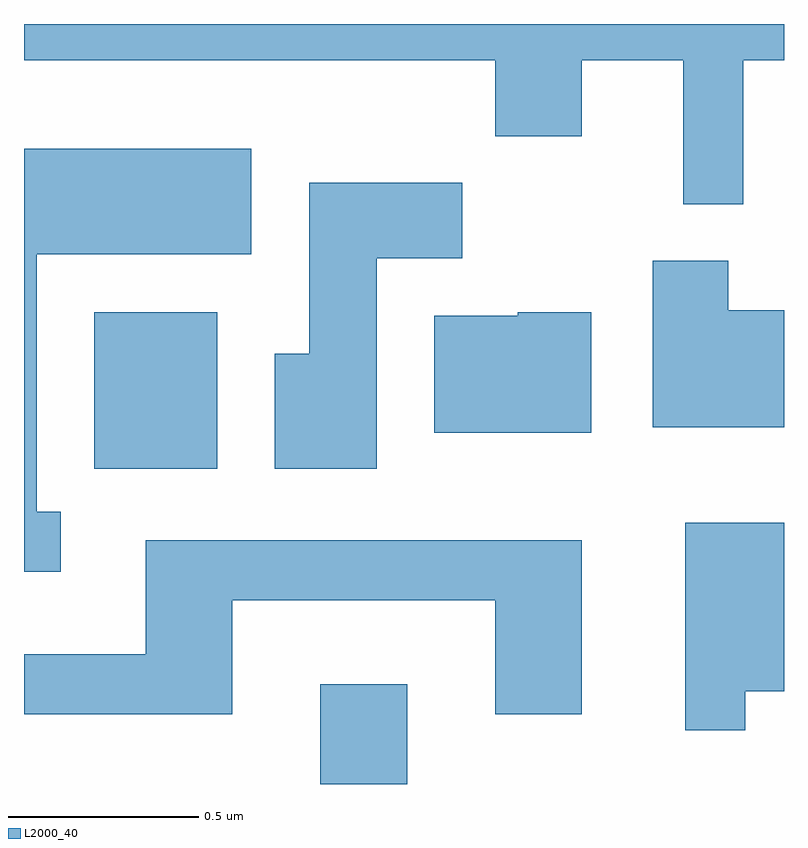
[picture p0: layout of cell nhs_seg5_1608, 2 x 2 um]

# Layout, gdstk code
import gdstk
lib = gdstk.Library(unit=1e-6, precision=1e-09)
def R(c, l, rs):  # rectangles x0, y0, x1, y1
    for r in rs: c.add(gdstk.rectangle(r[:2], r[2:], *l))
def P(c, l, *ps):  # polygons
    for p in ps: c.add(gdstk.Polygon(p, *l))
L2000_40 = (2000, 40)

nhs_seg5_1608 = lib.new_cell('nhs_seg5_1608')
R(nhs_seg5_1608, L2000_40, [(197.391,1497.072,197.619,1497.334), (196.796,1497.901,197.119,1498.314)])
P(nhs_seg5_1608, L2000_40, [(198.504,1498.976),(198.611,1498.976),(198.611,1499.072),(196.611,1499.072),(196.611,1498.976),(197.851,1498.976),(197.851,1498.776),(198.079,1498.776),(198.079,1498.976),(198.346,1498.976),(198.346,1498.598),(198.504,1498.598)],
  [(196.708,1497.789),(196.644,1497.789),(196.644,1498.466),(197.209,1498.466),(197.209,1498.744),(196.611,1498.744),(196.611,1497.631),(196.708,1497.631)],
  [(197.539,1498.456),(197.764,1498.456),(197.764,1498.654),(197.361,1498.654),(197.361,1498.204),(197.271,1498.204),(197.271,1497.901),(197.539,1497.901)],
  [(198.611,1498.319),(198.464,1498.319),(198.464,1498.449),(198.266,1498.449),(198.266,1498.011),(198.611,1498.011)],
  [(198.104,1498.314),(197.91,1498.314),(197.91,1498.304),(197.691,1498.304),(197.691,1497.996),(198.104,1497.996)],
  [(198.509,1497.316),(198.611,1497.316),(198.611,1497.759),(198.351,1497.759),(198.351,1497.213),(198.509,1497.213)],
  [(197.159,1497.556),(197.851,1497.556),(197.851,1497.256),(198.079,1497.256),(198.079,1497.714),(196.931,1497.714),(196.931,1497.414),(196.611,1497.414),(196.611,1497.256),(197.159,1497.256)])

lib.write_gds('nhs_seg5_1608.gds')
